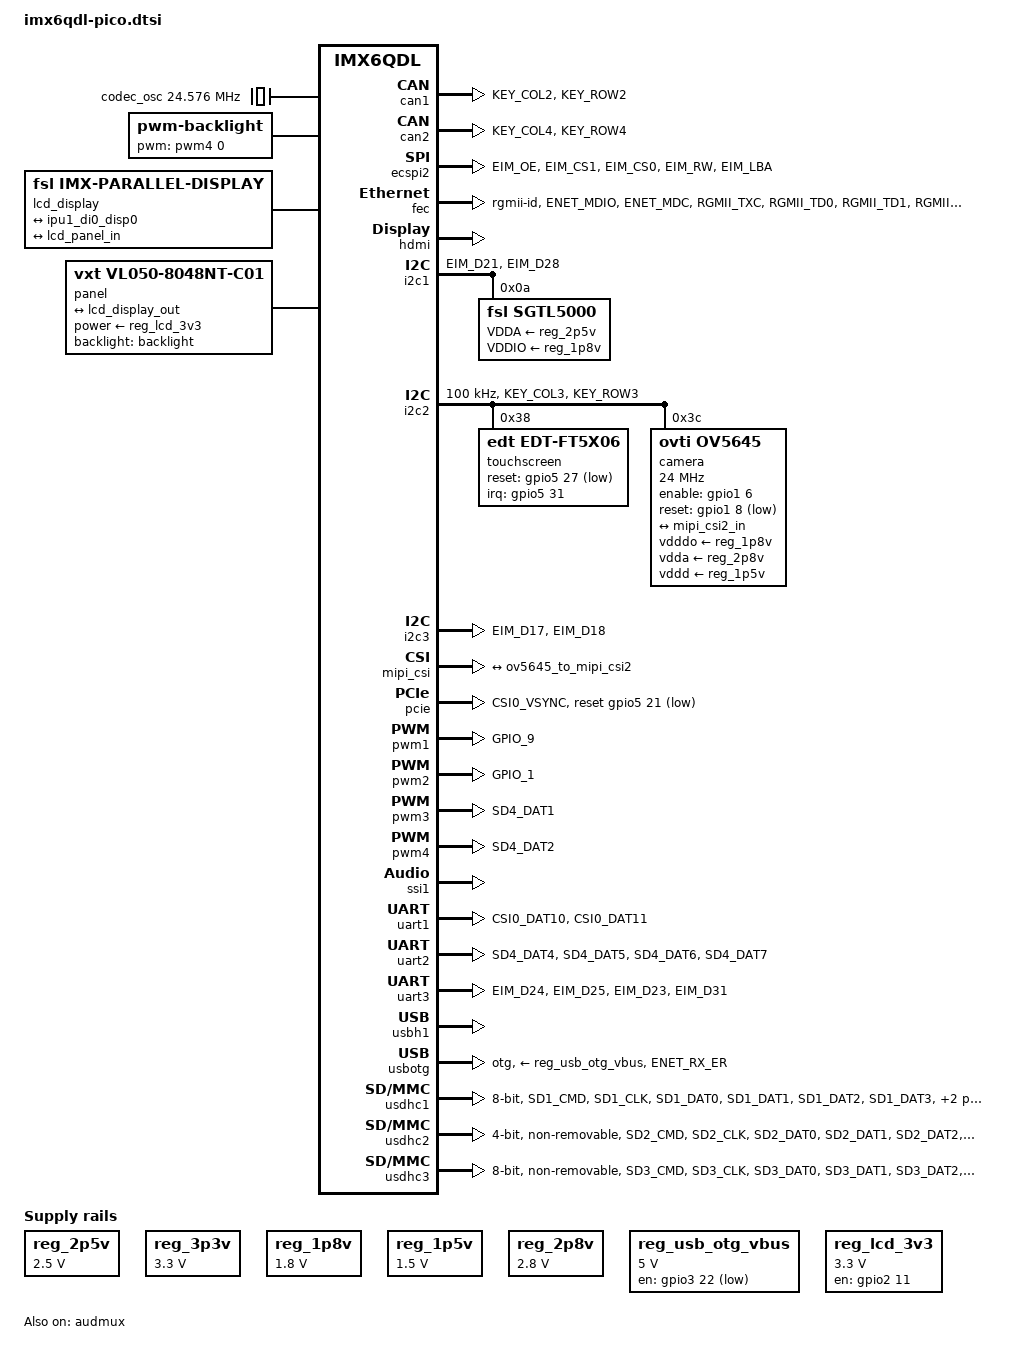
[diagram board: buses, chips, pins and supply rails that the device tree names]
// SPDX-License-Identifier: GPL-2.0 OR MIT
//
// Copyright 2018 Technexion Ltd.
//
// Author: Wig Cheng <wig.cheng@technexion.com>
//	   Richard Hu <richard.hu@technexion.com>
//	   Tapani Utriainen <tapani@technexion.com>

#include <dt-bindings/gpio/gpio.h>

/ {
	chosen {
		stdout-path = &uart1;
	};

	reg_2p5v: regulator-2p5v {
		compatible = "regulator-fixed";
		regulator-name = "2P5V";
		regulator-min-microvolt = <2500000>;
		regulator-max-microvolt = <2500000>;
		regulator-always-on;
	};

	reg_3p3v: regulator-3p3v {
		compatible = "regulator-fixed";
		regulator-name = "3P3V";
		regulator-min-microvolt = <3300000>;
		regulator-max-microvolt = <3300000>;
		regulator-always-on;
	};

	reg_1p8v: regulator-1p8v {
		compatible = "regulator-fixed";
		regulator-name = "1P8V";
		regulator-min-microvolt = <1800000>;
		regulator-max-microvolt = <1800000>;
		regulator-always-on;
	};

	reg_1p5v: regulator-1p5v {
		compatible = "regulator-fixed";
		regulator-name = "1P5V";
		regulator-min-microvolt = <1500000>;
		regulator-max-microvolt = <1500000>;
		regulator-always-on;
	};

	reg_2p8v: regulator-2p8v {
		compatible = "regulator-fixed";
		regulator-name = "2P8V";
		regulator-min-microvolt = <2800000>;
		regulator-max-microvolt = <2800000>;
		regulator-always-on;
	};

	reg_usb_otg_vbus: regulator-usb-otg-vbus {
		pinctrl-names = "default";
		pinctrl-0 = <&pinctrl_usbotg_vbus>;
		compatible = "regulator-fixed";
		regulator-name = "usb_otg_vbus";
		regulator-min-microvolt = <5000000>;
		regulator-max-microvolt = <5000000>;
		gpio = <&gpio3 22 GPIO_ACTIVE_LOW>;
	};

	codec_osc: clock {
		compatible = "fixed-clock";
		#clock-cells = <0>;
		clock-frequency = <24576000>;
	};

	sound {
		compatible = "fsl,imx-audio-sgtl5000";
		model = "imx6-pico-sgtl5000";
		ssi-controller = <&ssi1>;
		audio-codec = <&sgtl5000>;
		audio-routing =
			"MIC_IN", "Mic Jack",
			"Mic Jack", "Mic Bias",
			"Headphone Jack", "HP_OUT";
		mux-int-port = <1>;
		mux-ext-port = <3>;
	};

	backlight: backlight {
		compatible = "pwm-backlight";
		pwms = <&pwm4 0 50000 0>;
		brightness-levels = <0 36 72 108 144 180 216 255>;
		default-brightness-level = <6>;
		status = "okay";
	};

	reg_lcd_3v3: regulator-lcd-3v3 {
		compatible = "regulator-fixed";
		pinctrl-names = "default";
		pinctrl-0 = <&pinctrl_reg_lcd>;
		regulator-name = "lcd-3v3";
		regulator-min-microvolt = <3300000>;
		regulator-max-microvolt = <3300000>;
		gpio = <&gpio2 11 GPIO_ACTIVE_HIGH>;
		enable-active-high;
	};

	lcd_display: disp0 {
		compatible = "fsl,imx-parallel-display";
		#address-cells = <1>;
		#size-cells = <0>;
		pinctrl-names = "default";
		pinctrl-0 = <&pinctrl_ipu1>;
		status = "okay";

		port@0 {
			reg = <0>;

			lcd_display_in: endpoint {
				remote-endpoint = <&ipu1_di0_disp0>;
			};
		};

		port@1 {
			reg = <1>;

			lcd_display_out: endpoint {
				remote-endpoint = <&lcd_panel_in>;
			};
		};
	};

	panel {
		compatible = "vxt,vl050-8048nt-c01";
		backlight = <&backlight>;
		power-supply = <&reg_lcd_3v3>;

		port {
			lcd_panel_in: endpoint {
				remote-endpoint = <&lcd_display_out>;
			};
		};
	};
};

&audmux {
	pinctrl-names = "default";
	pinctrl-0 = <&pinctrl_audmux>;
	status = "okay";
};

&can1 {
	pinctrl-names = "default";
	pinctrl-0 = <&pinctrl_flexcan1>;
	status = "okay";
};

&can2 {
	pinctrl-names = "default";
	pinctrl-0 = <&pinctrl_flexcan2>;
	status = "okay";
};

&clks {
	assigned-clocks = <&clks IMX6QDL_CLK_LDB_DI0_SEL>,
			  <&clks IMX6QDL_CLK_LDB_DI1_SEL>;
	assigned-clock-parents = <&clks IMX6QDL_CLK_PLL3_USB_OTG>,
				 <&clks IMX6QDL_CLK_PLL3_USB_OTG>;
};

&ecspi2 {
	pinctrl-names = "default";
	pinctrl-0 = <&pinctrl_ecspi2>;
	cs-gpios = <&gpio2 27 GPIO_ACTIVE_HIGH>;
	status = "okay";
};

&fec {
	pinctrl-names = "default";
	pinctrl-0 = <&pinctrl_enet>;
	phy-mode = "rgmii-id";
	phy-reset-gpios = <&gpio1 26 GPIO_ACTIVE_LOW>;
	status = "okay";
};

&hdmi {
	ddc-i2c-bus = <&i2c2>;
	status = "okay";
};

&i2c1 {
	pinctrl-names = "default";
	pinctrl-0 = <&pinctrl_i2c1>;
	status = "okay";

	sgtl5000: audio-codec@a {
		#sound-dai-cells = <0>;
		reg = <0x0a>;
		compatible = "fsl,sgtl5000";
		clocks = <&codec_osc>;
		VDDA-supply = <&reg_2p5v>;
		VDDIO-supply = <&reg_1p8v>;
	};
};

&i2c2 {
	clock-frequency = <100000>;
	pinctrl-names = "default";
	pinctrl-0 = <&pinctrl_i2c2>;
	status = "okay";

	touchscreen@38 {
		compatible = "edt,edt-ft5x06";
		reg = <0x38>;
		interrupt-parent = <&gpio5>;
		interrupts = <31 IRQ_TYPE_EDGE_FALLING>;
		reset-gpios = <&gpio5 27 GPIO_ACTIVE_LOW>;
		touchscreen-size-x = <800>;
		touchscreen-size-y = <480>;
		wakeup-source;
	};

	camera@3c {
		compatible = "ovti,ov5645";
		pinctrl-names = "default";
		pinctrl-0 = <&pinctrl_ov5645>;
		reg = <0x3c>;
		clocks = <&clks IMX6QDL_CLK_CKO2>;
		clock-names = "xclk";
		clock-frequency = <24000000>;
		vdddo-supply = <&reg_1p8v>;
		vdda-supply = <&reg_2p8v>;
		vddd-supply = <&reg_1p5v>;
		enable-gpios = <&gpio1 6 GPIO_ACTIVE_HIGH>;
		reset-gpios = <&gpio1 8 GPIO_ACTIVE_LOW>;

		port {
			ov5645_to_mipi_csi2: endpoint {
				remote-endpoint = <&mipi_csi2_in>;
				clock-lanes = <0>;
				data-lanes = <1 2>;
			};
		};
	};
};

&i2c3 {
	pinctrl-names = "default";
	pinctrl-0 = <&pinctrl_i2c3>;
	status = "okay";
};

&ipu1_di0_disp0 {
	remote-endpoint = <&lcd_display_in>;
};

&mipi_csi {
	status = "okay";

	port@0 {
		reg = <0>;

		mipi_csi2_in: endpoint {
			remote-endpoint = <&ov5645_to_mipi_csi2>;
			clock-lanes = <0>;
			data-lanes = <1 2>;
		};
	};
};

&pcie {
	pinctrl-names = "default";
	pinctrl-0 = <&pinctrl_pcie_reset>;
	reset-gpio = <&gpio5 21 GPIO_ACTIVE_LOW>;
};

&pwm1 {
	pinctrl-names = "default";
	pinctrl-0 = <&pinctrl_pwm1>;
	status = "okay";
};

&pwm2 {
	pinctrl-names = "default";
	pinctrl-0 = <&pinctrl_pwm2>;
	status = "okay";
};

&pwm3 {
	pinctrl-names = "default";
	pinctrl-0 = <&pinctrl_pwm3>;
	status = "okay";
};

&pwm4 {
	pinctrl-names = "default";
	pinctrl-0 = <&pinctrl_pwm4>;
	status = "okay";
};

&ssi1 {
	status = "okay";
};

&uart1 {
	pinctrl-names = "default";
	pinctrl-0 = <&pinctrl_uart1>;
	status = "okay";
};

&uart2 {  /* Bluetooth module */
	pinctrl-names = "default";
	pinctrl-0 = <&pinctrl_uart2>;
	uart-has-rtscts;
	status = "okay";
};

&uart3 {
	pinctrl-names = "default";
	pinctrl-0 = <&pinctrl_uart3>;
	uart-has-rtscts;
	status = "okay";
};

&usbh1 {
	status = "okay";
};

&usbotg {
	vbus-supply = <&reg_usb_otg_vbus>;
	pinctrl-names = "default";
	pinctrl-0 = <&pinctrl_usbotg>;
	disable-over-current;
	dr_mode = "otg";
	status = "okay";
};

&usdhc1 {
	pinctrl-names = "default";
	pinctrl-0 = <&pinctrl_usdhc1>;
	bus-width = <8>;
	cd-gpios = <&gpio3 9 GPIO_ACTIVE_LOW>;
	status = "okay";
};

&usdhc2 {  /* Wifi/BT  */
	pinctrl-names = "default";
	pinctrl-0 = <&pinctrl_usdhc2>;
	bus-width = <4>;
	no-1-8-v;
	keep-power-in-suspend;
	non-removable;
	status = "okay";
};

&usdhc3 {
	pinctrl-names = "default";
	pinctrl-0 = <&pinctrl_usdhc3>;
	bus-width = <8>;
	no-1-8-v;
	non-removable;
	status = "okay";
};

&iomuxc {
	pinctrl-names = "default";
	pinctrl-0 = <&pinctrl_hog>;

	pinctrl_hog: hoggrp {
		fsl,pins = <
			MX6QDL_PAD_CSI0_MCLK__GPIO5_IO19	0x4001b0b5 /* PICO_P24 */
			MX6QDL_PAD_CSI0_VSYNC__GPIO5_IO21	0x4001b0b5 /* PICO_P26 */
			MX6QDL_PAD_CSI0_DATA_EN__GPIO5_IO20	0x4001b0b5 /* PICO_P28 */
			MX6QDL_PAD_CSI0_DAT8__GPIO5_IO26	0x4001b0b5 /* PICO_P30 */
			MX6QDL_PAD_CSI0_DAT9__GPIO5_IO27	0x4001b0b5 /* PICO_P32 */
			MX6QDL_PAD_CSI0_DAT14__GPIO6_IO00	0x4001b0b5 /* PICO_P34 */
			MX6QDL_PAD_CSI0_DAT12__GPIO5_IO30	0x4001b0b5 /* PICO_P42 */
			MX6QDL_PAD_CSI0_DAT13__GPIO5_IO31	0x4001b0b5 /* PICO_P44 */
			MX6QDL_PAD_CSI0_DAT15__GPIO6_IO01	0x4001b0b5 /* PICO_P48 */
		>;
	};

	pinctrl_audmux: audmuxgrp {
		fsl,pins = <
			MX6QDL_PAD_CSI0_DAT7__AUD3_RXD		0x130b0
			MX6QDL_PAD_CSI0_DAT4__AUD3_TXC		0x130b0
			MX6QDL_PAD_CSI0_DAT5__AUD3_TXD		0x110b0
			MX6QDL_PAD_CSI0_DAT6__AUD3_TXFS		0x130b0
		>;
	};

	pinctrl_ecspi1: ecspi1grp {
		fsl,pins = <
			MX6QDL_PAD_EIM_D17__ECSPI1_MISO		0x100b1
			MX6QDL_PAD_EIM_D18__ECSPI1_MOSI		0x100b1
			MX6QDL_PAD_EIM_D16__ECSPI1_SCLK		0x100b1
			MX6QDL_PAD_EIM_EB2__GPIO2_IO30		0x000f0b0
		>;
	};

	pinctrl_ecspi2: ecspi2grp {
		fsl,pins = <
			MX6QDL_PAD_EIM_OE__ECSPI2_MISO		0x1b0b1
			MX6QDL_PAD_EIM_CS1__ECSPI2_MOSI		0x1b0b1
			MX6QDL_PAD_EIM_CS0__ECSPI2_SCLK		0x1b0b1
			MX6QDL_PAD_EIM_RW__GPIO2_IO26		0x000f0b0
			MX6QDL_PAD_EIM_LBA__GPIO2_IO27		0x000f0b0
		>;
	};

	pinctrl_enet: enetgrp {
		fsl,pins = <
			MX6QDL_PAD_ENET_MDIO__ENET_MDIO		0x1b0b0
			MX6QDL_PAD_ENET_MDC__ENET_MDC		0x1b0b0
			MX6QDL_PAD_RGMII_TXC__RGMII_TXC		0x1b0b0
			MX6QDL_PAD_RGMII_TD0__RGMII_TD0		0x1b0b0
			MX6QDL_PAD_RGMII_TD1__RGMII_TD1		0x1b0b0
			MX6QDL_PAD_RGMII_TD2__RGMII_TD2		0x1b0b0
			MX6QDL_PAD_RGMII_TD3__RGMII_TD3		0x1b0b0
			MX6QDL_PAD_RGMII_TX_CTL__RGMII_TX_CTL	0x1b0b0
			MX6QDL_PAD_ENET_REF_CLK__ENET_TX_CLK	0x1b0b0
			MX6QDL_PAD_RGMII_RXC__RGMII_RXC		0x1b0b0
			MX6QDL_PAD_RGMII_RD0__RGMII_RD0		0x1b0b0
			MX6QDL_PAD_RGMII_RD1__RGMII_RD1		0x1b0b0
			MX6QDL_PAD_RGMII_RD2__RGMII_RD2		0x1b0b0
			MX6QDL_PAD_RGMII_RD3__RGMII_RD3		0x1b0b0
			MX6QDL_PAD_RGMII_RX_CTL__RGMII_RX_CTL	0x1b0b0
			MX6QDL_PAD_ENET_TX_EN__ENET_TX_EN	0x1b0b0
			MX6QDL_PAD_ENET_RXD1__GPIO1_IO26	0x1f0b1
		>;
	};

	pinctrl_flexcan1: flexcan1grp {
		fsl,pins = <
			MX6QDL_PAD_KEY_COL2__FLEXCAN1_TX	0x1b0b0
			MX6QDL_PAD_KEY_ROW2__FLEXCAN1_RX	0x1b0b0
		>;
	};

	pinctrl_flexcan2: flexcan2grp {
		fsl,pins = <
			MX6QDL_PAD_KEY_COL4__FLEXCAN2_TX	0x1b0b0
			MX6QDL_PAD_KEY_ROW4__FLEXCAN2_RX	0x1b0b0
		>;
	};

	pinctrl_i2c1: i2c1grp {
		fsl,pins = <
			MX6QDL_PAD_EIM_D21__I2C1_SCL		0x4001b8b1
			MX6QDL_PAD_EIM_D28__I2C1_SDA		0x4001b8b1
		>;
	};

	pinctrl_i2c2: i2c2grp {
		fsl,pins = <
			MX6QDL_PAD_KEY_COL3__I2C2_SCL		0x4001b8b1
			MX6QDL_PAD_KEY_ROW3__I2C2_SDA		0x4001b8b1
		>;
	};

	pinctrl_i2c3: i2c3grp {
		fsl,pins = <
			MX6QDL_PAD_EIM_D17__I2C3_SCL		0x4001b8b1
			MX6QDL_PAD_EIM_D18__I2C3_SDA		0x4001b8b1
		>;
	};

	pinctrl_ipu1: ipu1grp {
		fsl,pins = <
			MX6QDL_PAD_DI0_DISP_CLK__IPU1_DI0_DISP_CLK	0x10
			MX6QDL_PAD_DI0_PIN15__IPU1_DI0_PIN15		0x10
			MX6QDL_PAD_DI0_PIN2__IPU1_DI0_PIN02		0x10
			MX6QDL_PAD_DI0_PIN3__IPU1_DI0_PIN03		0x10
			MX6QDL_PAD_DI0_PIN4__IPU1_DI0_PIN04		0x10
			MX6QDL_PAD_DISP0_DAT0__IPU1_DISP0_DATA00	0x10
			MX6QDL_PAD_DISP0_DAT1__IPU1_DISP0_DATA01	0x10
			MX6QDL_PAD_DISP0_DAT2__IPU1_DISP0_DATA02	0x10
			MX6QDL_PAD_DISP0_DAT3__IPU1_DISP0_DATA03	0x10
			MX6QDL_PAD_DISP0_DAT4__IPU1_DISP0_DATA04	0x10
			MX6QDL_PAD_DISP0_DAT5__IPU1_DISP0_DATA05	0x10
			MX6QDL_PAD_DISP0_DAT6__IPU1_DISP0_DATA06	0x10
			MX6QDL_PAD_DISP0_DAT7__IPU1_DISP0_DATA07	0x10
			MX6QDL_PAD_DISP0_DAT8__IPU1_DISP0_DATA08	0x10
			MX6QDL_PAD_DISP0_DAT9__IPU1_DISP0_DATA09	0x10
			MX6QDL_PAD_DISP0_DAT10__IPU1_DISP0_DATA10	0x10
			MX6QDL_PAD_DISP0_DAT11__IPU1_DISP0_DATA11	0x10
			MX6QDL_PAD_DISP0_DAT12__IPU1_DISP0_DATA12	0x10
			MX6QDL_PAD_DISP0_DAT13__IPU1_DISP0_DATA13	0x10
			MX6QDL_PAD_DISP0_DAT14__IPU1_DISP0_DATA14	0x10
			MX6QDL_PAD_DISP0_DAT15__IPU1_DISP0_DATA15	0x10
			MX6QDL_PAD_DISP0_DAT16__IPU1_DISP0_DATA16	0x10
			MX6QDL_PAD_DISP0_DAT17__IPU1_DISP0_DATA17	0x10
			MX6QDL_PAD_DISP0_DAT18__IPU1_DISP0_DATA18	0x10
			MX6QDL_PAD_DISP0_DAT19__IPU1_DISP0_DATA19	0x10
			MX6QDL_PAD_DISP0_DAT20__IPU1_DISP0_DATA20	0x10
			MX6QDL_PAD_DISP0_DAT21__IPU1_DISP0_DATA21	0x10
			MX6QDL_PAD_DISP0_DAT22__IPU1_DISP0_DATA22	0x10
			MX6QDL_PAD_DISP0_DAT23__IPU1_DISP0_DATA23	0x10
		>;
	};

	pinctrl_ov5645: ov5645grp {
		fsl,pins = <
			MX6QDL_PAD_GPIO_6__GPIO1_IO06		0x0b0b0
			MX6QDL_PAD_GPIO_8__GPIO1_IO08		0x0b0b0
			MX6QDL_PAD_GPIO_3__CCM_CLKO2		0x000b0
		>;
	};

	pinctrl_pcie_reset: pciegrp {
		fsl,pins = <
			MX6QDL_PAD_CSI0_VSYNC__GPIO5_IO21	0x130b0
		>;
	};

	pinctrl_pwm1: pwm1grp {
		fsl,pins = <
			MX6QDL_PAD_GPIO_9__PWM1_OUT		0x1b0b1
		>;
	};

	pinctrl_pwm2: pwm2grp {
		fsl,pins = <
			MX6QDL_PAD_GPIO_1__PWM2_OUT		0x1b0b1
		>;
	};

	pinctrl_pwm3: pwm3grp {
		fsl,pins = <
			MX6QDL_PAD_SD4_DAT1__PWM3_OUT		0x1b0b1
		>;
	};

	pinctrl_pwm4: pwm4grp {
		fsl,pins = <
			MX6QDL_PAD_SD4_DAT2__PWM4_OUT		0x1b0b1
		>;
	};

	pinctrl_reg_lcd: reglcdgrp {
		fsl,pins = <
			MX6QDL_PAD_SD4_DAT3__GPIO2_IO11		0x1b0b0
		>;
	};

	pinctrl_uart1: uart1grp {
		fsl,pins = <
			MX6QDL_PAD_CSI0_DAT10__UART1_TX_DATA	0x1b0b1
			MX6QDL_PAD_CSI0_DAT11__UART1_RX_DATA	0x1b0b1
		>;
	};

	pinctrl_uart2: uart2grp {
		fsl,pins = <
			MX6QDL_PAD_SD4_DAT4__UART2_RX_DATA	0x1b0b1
			MX6QDL_PAD_SD4_DAT5__UART2_RTS_B	0x1b0b1
			MX6QDL_PAD_SD4_DAT6__UART2_CTS_B	0x1b0b1
			MX6QDL_PAD_SD4_DAT7__UART2_TX_DATA	0x1b0b1
		>;
	};

	pinctrl_uart3: uart3grp {
		fsl,pins = <
			MX6QDL_PAD_EIM_D24__UART3_TX_DATA	0x1b0b1
			MX6QDL_PAD_EIM_D25__UART3_RX_DATA	0x1b0b1
			MX6QDL_PAD_EIM_D23__UART3_CTS_B		0x1b0b1
			MX6QDL_PAD_EIM_D31__UART3_RTS_B		0x1b0b1
		>;
	};

	pinctrl_usbotg: usbotggrp {
		fsl,pins = <
			MX6QDL_PAD_ENET_RX_ER__USB_OTG_ID	0x17059
		>;
	};

	pinctrl_usbotg_vbus: usbotgvbusgrp {
		fsl,pins = <
			MX6QDL_PAD_EIM_D22__GPIO3_IO22		0x1b0b0
		>;
	};

	pinctrl_usdhc1: usdhc1grp {
		fsl,pins = <
			MX6QDL_PAD_SD1_CMD__SD1_CMD		0x17071
			MX6QDL_PAD_SD1_CLK__SD1_CLK		0x17071
			MX6QDL_PAD_SD1_DAT0__SD1_DATA0		0x17071
			MX6QDL_PAD_SD1_DAT1__SD1_DATA1		0x17071
			MX6QDL_PAD_SD1_DAT2__SD1_DATA2		0x17071
			MX6QDL_PAD_SD1_DAT3__SD1_DATA3		0x17071
			MX6QDL_PAD_GPIO_2__GPIO1_IO02		0x1b0b0
		>;
	};

	pinctrl_usdhc2: usdhc2grp {
		fsl,pins = <
			MX6QDL_PAD_SD2_CMD__SD2_CMD		0x17059
			MX6QDL_PAD_SD2_CLK__SD2_CLK		0x10059
			MX6QDL_PAD_SD2_DAT0__SD2_DATA0		0x17059
			MX6QDL_PAD_SD2_DAT1__SD2_DATA1		0x17059
			MX6QDL_PAD_SD2_DAT2__SD2_DATA2		0x17059
			MX6QDL_PAD_SD2_DAT3__SD2_DATA3		0x17059
		>;
	};

	pinctrl_usdhc3: usdhc3grp {
		fsl,pins = <
			MX6QDL_PAD_SD3_CMD__SD3_CMD		0x17059
			MX6QDL_PAD_SD3_CLK__SD3_CLK		0x10059
			MX6QDL_PAD_SD3_DAT0__SD3_DATA0		0x17059
			MX6QDL_PAD_SD3_DAT1__SD3_DATA1		0x17059
			MX6QDL_PAD_SD3_DAT2__SD3_DATA2		0x17059
			MX6QDL_PAD_SD3_DAT3__SD3_DATA3		0x17059
			MX6QDL_PAD_EIM_DA9__GPIO3_IO09		0xb0b1
			MX6QDL_PAD_SD3_DAT4__SD3_DATA4		0x17059
			MX6QDL_PAD_SD3_DAT5__SD3_DATA5		0x17059
			MX6QDL_PAD_SD3_DAT6__SD3_DATA6		0x17059
			MX6QDL_PAD_SD3_DAT7__SD3_DATA7		0x17059
		>;
	};
};
